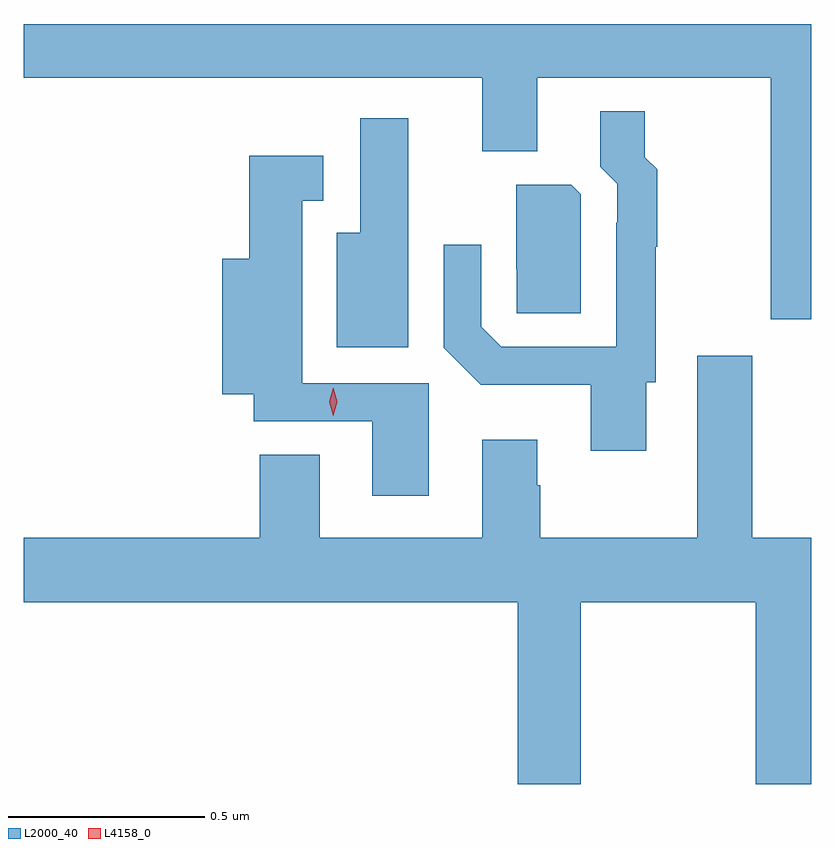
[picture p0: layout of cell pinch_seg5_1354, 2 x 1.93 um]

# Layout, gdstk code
import gdstk
lib = gdstk.Library(unit=1e-6, precision=1e-09)
def P(c, l, *ps):  # polygons
    for p in ps: c.add(gdstk.Polygon(p, *l))
L2000_40 = (2000, 40)
L4158_0 = (4158, 0)

pinch_seg5_1354 = lib.new_cell('pinch_seg5_1354')
P(pinch_seg5_1354, L2000_40, [(308.413,896.856),(306.413,896.856),(306.413,896.72),(307.577,896.72),(307.577,896.533),(307.717,896.533),(307.717,896.72),(308.309,896.72),(308.309,896.106),(308.413,896.106)],
  [(307.993,895.947),(308.018,895.947),(308.018,896.29),(308.021,896.29),(308.021,896.487),(307.99,896.518),(307.99,896.635),(307.877,896.635),(307.877,896.494),(307.92,896.451),(307.92,896.351),(307.917,896.351),(307.917,896.037),(307.626,896.037),(307.575,896.088),(307.575,896.296),(307.479,896.296),(307.479,896.034),(307.573,895.94),(307.853,895.94),(307.853,895.773),(307.993,895.773)],
  [(307.39,896.617),(307.268,896.617),(307.268,896.326),(307.208,896.326),(307.208,896.036),(307.39,896.036)],
  [(307.441,895.944),(307.12,895.944),(307.12,896.408),(307.174,896.408),(307.174,896.521),(306.986,896.521),(306.986,896.26),(306.917,896.26),(306.917,895.916),(306.998,895.916),(306.998,895.848),(307.298,895.848),(307.298,895.659),(307.441,895.659)],
  [(307.827,896.424),(307.803,896.448),(307.664,896.448),(307.664,896.233),(307.665,896.233),(307.665,896.122),(307.827,896.122)],
  [(307.827,895.388),(308.272,895.388),(308.272,894.927),(308.413,894.927),(308.413,895.552),(308.263,895.552),(308.263,896.014),(308.123,896.014),(308.123,895.552),(307.725,895.552),(307.725,895.685),(307.717,895.685),(307.717,895.801),(307.577,895.801),(307.577,895.552),(307.165,895.552),(307.165,895.763),(307.013,895.763),(307.013,895.552),(306.413,895.552),(306.413,895.388),(307.667,895.388),(307.667,894.927),(307.827,894.927)])
P(pinch_seg5_1354, L4158_0, [(307.199,895.862),(307.199,895.862),(307.189,895.897),(307.199,895.933),(307.199,895.933),(307.199,895.933),(307.209,895.897),(307.199,895.862)])

lib.write_gds('pinch_seg5_1354.gds')
